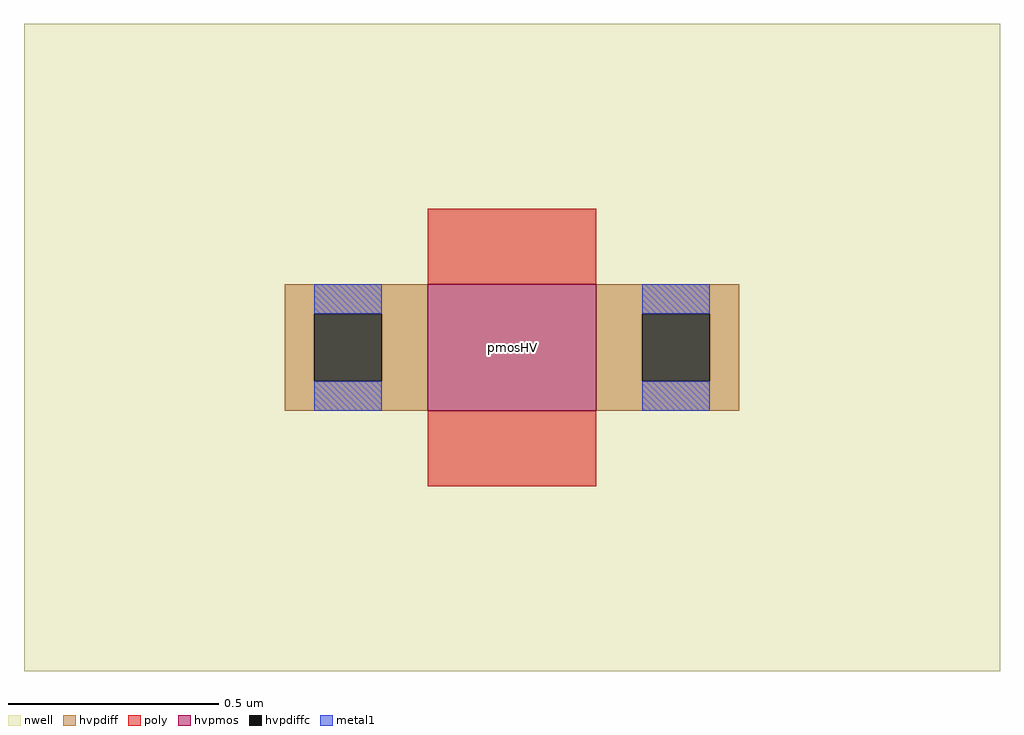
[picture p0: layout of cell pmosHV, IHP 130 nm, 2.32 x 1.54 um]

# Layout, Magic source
magic
tech ihp-sg13g2
<< nwell >>
rect -62 -62 170 92
<< hvpmos >>
rect 34 0 74 30
<< hvpdiff >>
rect 0 23 34 30
rect 0 7 7 23
rect 23 7 34 23
rect 0 0 34 7
rect 74 23 108 30
rect 74 7 85 23
rect 101 7 108 23
rect 74 0 108 7
<< hvpdiffc >>
rect 7 7 23 23
rect 85 7 101 23
<< poly >>
rect 34 30 74 48
rect 34 -18 74 0
<< metal1 >>
rect 7 23 23 30
rect 7 0 23 7
rect 85 23 101 30
rect 85 0 101 7
<< labels >>
flabel comment s 54 15 54 15 0 FreeSans 100 90 0 0 pmosHV
<< end >>
